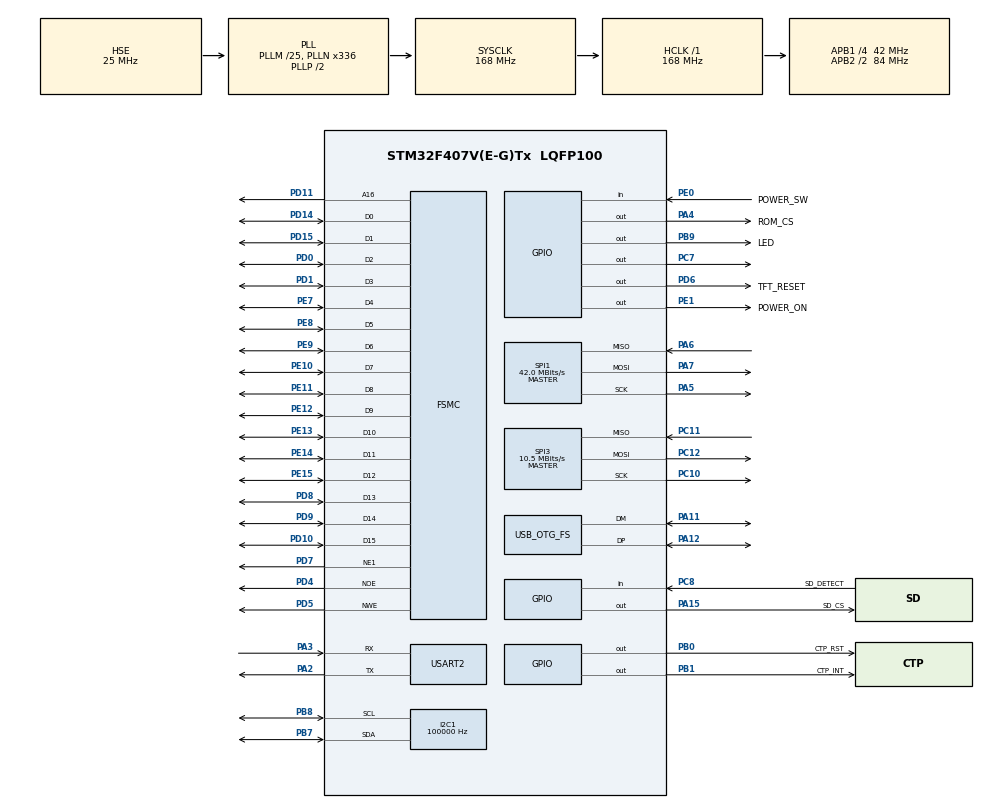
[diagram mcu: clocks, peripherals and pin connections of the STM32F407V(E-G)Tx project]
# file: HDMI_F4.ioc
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Dma.MEMTOMEM.0.Direction=DMA_MEMORY_TO_MEMORY
Dma.MEMTOMEM.0.FIFOMode=DMA_FIFOMODE_ENABLE
Dma.MEMTOMEM.0.FIFOThreshold=DMA_FIFO_THRESHOLD_FULL
Dma.MEMTOMEM.0.Instance=DMA2_Stream0
Dma.MEMTOMEM.0.MemBurst=DMA_MBURST_SINGLE
Dma.MEMTOMEM.0.MemDataAlignment=DMA_MDATAALIGN_HALFWORD
Dma.MEMTOMEM.0.MemInc=DMA_MINC_ENABLE
Dma.MEMTOMEM.0.Mode=DMA_NORMAL
Dma.MEMTOMEM.0.PeriphBurst=DMA_PBURST_SINGLE
Dma.MEMTOMEM.0.PeriphDataAlignment=DMA_PDATAALIGN_HALFWORD
Dma.MEMTOMEM.0.PeriphInc=DMA_PINC_ENABLE
Dma.MEMTOMEM.0.Priority=DMA_PRIORITY_LOW
Dma.Request0=MEMTOMEM
FATFS._USE_LFN=1
FSMC.AddressSetupTime1=2
FSMC.BusTurnAroundDuration1=0
FSMC.DataSetupTime1=8
I2C1.ClockSpeed=100000
I2C1.I2C_Mode=I2C_Standard
Mcu.Family=STM32F4
Mcu.Name=STM32F407V(E-G)Tx
Mcu.Package=LQFP100
NVIC.DMA2_Stream0_IRQn=true\:0\:0\:false\:false\:true\:true\:true\:true
NVIC.OTG_FS_IRQn=true\:0\:0\:false\:false\:true\:false\:true\:true
NVIC.PriorityGroup=NVIC_PRIORITYGROUP_4
NVIC.USART2_IRQn=true\:0\:0\:false\:false\:true\:true\:true\:true
PA11.Mode=Device_Only
PA11.Signal=USB_OTG_FS_DM
PA12.Mode=Device_Only
PA12.Signal=USB_OTG_FS_DP
PA13.Mode=Serial_Wire
PA13.Signal=SYS_JTMS-SWDIO
PA14.Mode=Serial_Wire
PA14.Signal=SYS_JTCK-SWCLK
PA15.GPIO_Label=SD_CS
PA15.GPIO_Speed=GPIO_SPEED_FREQ_VERY_HIGH
PA15.PinState=GPIO_PIN_SET
PA15.Signal=GPIO_Output
PA2.GPIO_PuPd=GPIO_PULLUP
PA2.Mode=Asynchronous
PA2.Signal=USART2_TX
PA3.GPIO_PuPd=GPIO_PULLUP
PA3.Mode=Asynchronous
PA3.Signal=USART2_RX
PA4.GPIO_Label=ROM_CS
PA4.GPIO_Speed=GPIO_SPEED_FREQ_VERY_HIGH
PA4.PinState=GPIO_PIN_SET
PA4.Signal=GPIO_Output
PA5.Mode=Full_Duplex_Master
PA5.Signal=SPI1_SCK
PA6.Mode=Full_Duplex_Master
PA6.Signal=SPI1_MISO
PA7.Mode=Full_Duplex_Master
PA7.Signal=SPI1_MOSI
PB0.GPIO_Label=CTP_RST
PB0.GPIO_Speed=GPIO_SPEED_FREQ_HIGH
PB0.Signal=GPIO_Output
PB1.GPIO_Label=CTP_INT
PB1.GPIO_Speed=GPIO_SPEED_FREQ_HIGH
PB1.Signal=GPIO_Output
PB7.GPIO_Pu=GPIO_PULLUP
PB7.Mode=I2C
PB7.Signal=I2C1_SDA
PB8.GPIO_Pu=GPIO_PULLUP
PB8.Mode=I2C
PB8.Signal=I2C1_SCL
PB9.GPIO_Label=LED
PB9.Signal=GPIO_Output
PC10.GPIO_PuPd=GPIO_NOPULL
PC10.GPIO_Speed=GPIO_SPEED_FREQ_VERY_HIGH
PC10.Mode=Full_Duplex_Master
PC10.Signal=SPI3_SCK
PC11.GPIO_PuPd=GPIO_NOPULL
PC11.Mode=Full_Duplex_Master
PC11.Signal=SPI3_MISO
PC12.GPIO_PuPd=GPIO_NOPULL
PC12.Mode=Full_Duplex_Master
PC12.Signal=SPI3_MOSI
PC7.GPIO_Speed=GPIO_SPEED_FREQ_HIGH
PC7.Signal=GPIO_Output
PC8.GPIO_Label=SD_DETECT 
PC8.GPIO_PuPd=GPIO_PULLUP
PC8.Signal=GPIO_Input
PD0.Mode=16b-d1
PD0.Signal=FSMC_D2
PD1.Mode=16b-d1
PD1.Signal=FSMC_D3
PD10.Mode=16b-d1
PD10.Signal=FSMC_D15
PD11.Mode=A16_1
PD11.Signal=FSMC_A16
PD14.Mode=16b-d1
PD14.Signal=FSMC_D0
PD15.Mode=16b-d1
PD15.Signal=FSMC_D1
PD4.Mode=Lcd1
PD4.Signal=FSMC_NOE
PD5.Mode=Lcd1
PD5.Signal=FSMC_NWE
PD6.GPIO_Label=TFT_RESET
PD6.GPIO_Speed=GPIO_SPEED_FREQ_VERY_HIGH
PD6.PinState=GPIO_PIN_SET
PD6.Signal=GPIO_Output
PD7.Mode=NorPsramChipSelect1_1
PD7.Signal=FSMC_NE1
PD8.Mode=16b-d1
PD8.Signal=FSMC_D13
PD9.Mode=16b-d1
PD9.Signal=FSMC_D14
PE0.GPIO_Label=POWER_SW
PE0.GPIO_PuPd=GPIO_PULLUP
PE0.Signal=GPIO_Input
PE1.GPIO_Label=POWER_ON
PE1.PinState=GPIO_PIN_SET
PE1.Signal=GPIO_Output
PE10.Mode=16b-d1
PE10.Signal=FSMC_D7
PE11.Mode=16b-d1
PE11.Signal=FSMC_D8
PE12.Mode=16b-d1
PE12.Signal=FSMC_D9
PE13.Mode=16b-d1
PE13.Signal=FSMC_D10
PE14.Mode=16b-d1
PE14.Signal=FSMC_D11
PE15.Mode=16b-d1
PE15.Signal=FSMC_D12
PE7.Mode=16b-d1
PE7.Signal=FSMC_D4
PE8.Mode=16b-d1
PE8.Signal=FSMC_D5
PE9.Mode=16b-d1
PE9.Signal=FSMC_D6
PH0-OSC_IN.Mode=HSE-External-Oscillator
PH0-OSC_IN.Signal=RCC_OSC_IN
PH1-OSC_OUT.Mode=HSE-External-Oscillator
PH1-OSC_OUT.Signal=RCC_OSC_OUT
ProjectManager.HeapSize=0x200
ProjectManager.StackSize=0x400
ProjectManager.TargetToolchain=STM32CubeIDE
RCC.48MHZClocksFreq_Value=48000000
RCC.AHBFreq_Value=168000000
RCC.APB1CLKDivider=RCC_HCLK_DIV4
RCC.APB1Freq_Value=42000000
RCC.APB1TimFreq_Value=84000000
RCC.APB2CLKDivider=RCC_HCLK_DIV2
RCC.APB2Freq_Value=84000000
RCC.APB2TimFreq_Value=168000000
RCC.CortexFreq_Value=168000000
RCC.EnbaleCSS=true
RCC.HCLKFreq_Value=168000000
RCC.HSE_VALUE=25000000
RCC.HSI_VALUE=16000000
RCC.LSE_VALUE=32768
RCC.PLLM=25
RCC.PLLN=336
RCC.PLLQ=7
RCC.SYSCLKFreq_VALUE=168000000
RCC.SYSCLKSource=RCC_SYSCLKSOURCE_PLLCLK
RCC.VCOOutputFreq_Value=336000000
SPI1.CalculateBaudRate=42.0 MBits/s
SPI1.Direction=SPI_DIRECTION_2LINES
SPI1.Mode=SPI_MODE_MASTER
SPI1.VirtualType=VM_MASTER
SPI3.BaudRatePrescaler=SPI_BAUDRATEPRESCALER_4
SPI3.CLKPolarity=SPI_POLARITY_LOW
SPI3.CalculateBaudRate=10.5 MBits/s
SPI3.Direction=SPI_DIRECTION_2LINES
SPI3.Mode=SPI_MODE_MASTER
SPI3.VirtualType=VM_MASTER
USART2.VirtualMode=VM_ASYNC
USB_DEVICE.CLASS_NAME_FS=CDC
USB_DEVICE.VirtualMode-CDC_FS=Cdc
USB_DEVICE.VirtualModeFS=Cdc_FS
USB_OTG_FS.VirtualMode=Device_Only
USB_OTG_FS.low_power_enable=DISABLE
VP_FATFS_VS_Generic.Mode=User_defined
VP_USB_DEVICE_VS_USB_DEVICE_CDC_FS.Mode=CDC_FS
board=custom

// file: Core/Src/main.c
/* USER CODE BEGIN Header */
/**
 ******************************************************************************
 * @file           : main.c
 * @brief          : Main program body
 ******************************************************************************
 * @attention
 *
 * Copyright (c) 2024 STMicroelectronics.
 * All rights reserved.
 *
 * This software is licensed under terms that can be found in the LICENSE file
 * in the root directory of this software component.
 * If no LICENSE file comes with this software, it is provided AS-IS.
 *
 ******************************************************************************
 */
/* USER CODE END Header */
#include "main.h"
#include "fatfs.h"
#include "usb_device.h"

/* USER CODE BEGIN Includes */
#include "AppDrv.h"
#include "usbd_cdc_if.h"
/* USER CODE END Includes */

/* USER CODE BEGIN PM */
//TouchCordinate_t cordinate[5];
//TouchCordinate_t pre_cordinate[5];
//uint8_t number;
//uint8_t tmp = 0;
/* USER CODE END PM */

I2C_HandleTypeDef hi2c1;

SPI_HandleTypeDef hspi1;
SPI_HandleTypeDef hspi3;

DMA_HandleTypeDef hdma_memtomem_dma2_stream0;
SRAM_HandleTypeDef hsram1;

void SystemClock_Config(void);
static void MX_GPIO_Init(void);
static void MX_DMA_Init(void);
static void MX_FSMC_Init(void);
static void MX_I2C1_Init(void);
static void MX_SPI3_Init(void);
static void MX_USART2_UART_Init(void);
static void MX_SPI1_Init(void);

/* USER CODE BEGIN 0 */
void blink() {
	HAL_GPIO_TogglePin(LED_GPIO_Port, LED_Pin);
}
/* USER CODE END 0 */

int main(void)
{

  /* MCU Configuration--------------------------------------------------------*/

  /* Reset of all peripherals, Initializes the Flash interface and the Systick. */
  HAL_Init();

  /* Configure the system clock */
  SystemClock_Config();

  /* Initialize all configured peripherals */
  MX_GPIO_Init();
  MX_DMA_Init();
  MX_FSMC_Init();
  MX_I2C1_Init();
  MX_USB_DEVICE_Init();
  MX_SPI3_Init();
  MX_USART2_UART_Init();
  MX_SPI1_Init();
  MX_FATFS_Init();
  /* USER CODE BEGIN 2 */
	SystemStatus = RUNs;
	usart2_init();
	FSP_Line_Task_Init();
	lv_init();
	lv_port_disp_init();
	lv_port_indev_init();

	ui_init();
	lv_timer_create(blink, 500, NULL);
	lv_timer_create(FSP_Line_Task, 20, NULL);
	lv_timer_create(Communicate_Task, 100, NULL);
	lv_timer_create(Update_Status_Task, 100, NULL);
	File_Count = get_next_file_index("0:/");

  /* USER CODE END 2 */

  /* Infinite loop */
	while (1) {

    /* USER CODE BEGIN 3 */

		lv_timer_handler();
	}
  /* USER CODE END 3 */
}

void SystemClock_Config(void)
{
  RCC_OscInitTypeDef RCC_OscInitStruct = {0};
  RCC_ClkInitTypeDef RCC_ClkInitStruct = {0};

  /** Configure the main internal regulator output voltage
  */
  __HAL_RCC_PWR_CLK_ENABLE();
  __HAL_PWR_VOLTAGESCALING_CONFIG(PWR_REGULATOR_VOLTAGE_SCALE1);

  /** Initializes the RCC Oscillators according to the specified parameters
  * in the RCC_OscInitTypeDef structure.
  */
  RCC_OscInitStruct.OscillatorType = RCC_OSCILLATORTYPE_HSE;
  RCC_OscInitStruct.HSEState = RCC_HSE_ON;
  RCC_OscInitStruct.PLL.PLLState = RCC_PLL_ON;
  RCC_OscInitStruct.PLL.PLLSource = RCC_PLLSOURCE_HSE;
  RCC_OscInitStruct.PLL.PLLM = 25;
  RCC_OscInitStruct.PLL.PLLN = 336;
  RCC_OscInitStruct.PLL.PLLP = RCC_PLLP_DIV2;
  RCC_OscInitStruct.PLL.PLLQ = 7;
  if (HAL_RCC_OscConfig(&RCC_OscInitStruct) != HAL_OK)
  {
    Error_Handler();
  }

  /** Initializes the CPU, AHB and APB buses clocks
  */
  RCC_ClkInitStruct.ClockType = RCC_CLOCKTYPE_HCLK|RCC_CLOCKTYPE_SYSCLK
                              |RCC_CLOCKTYPE_PCLK1|RCC_CLOCKTYPE_PCLK2;
  RCC_ClkInitStruct.SYSCLKSource = RCC_SYSCLKSOURCE_PLLCLK;
  RCC_ClkInitStruct.AHBCLKDivider = RCC_SYSCLK_DIV1;
  RCC_ClkInitStruct.APB1CLKDivider = RCC_HCLK_DIV4;
  RCC_ClkInitStruct.APB2CLKDivider = RCC_HCLK_DIV2;

  if (HAL_RCC_ClockConfig(&RCC_ClkInitStruct, FLASH_LATENCY_5) != HAL_OK)
  {
    Error_Handler();
  }

  /** Enables the Clock Security System
  */
  HAL_RCC_EnableCSS();
}

static void MX_I2C1_Init(void)
{

  hi2c1.Instance = I2C1;
  hi2c1.Init.ClockSpeed = 100000;
  hi2c1.Init.DutyCycle = I2C_DUTYCYCLE_2;
  hi2c1.Init.OwnAddress1 = 0;
  hi2c1.Init.AddressingMode = I2C_ADDRESSINGMODE_7BIT;
  hi2c1.Init.DualAddressMode = I2C_DUALADDRESS_DISABLE;
  hi2c1.Init.OwnAddress2 = 0;
  hi2c1.Init.GeneralCallMode = I2C_GENERALCALL_DISABLE;
  hi2c1.Init.NoStretchMode = I2C_NOSTRETCH_DISABLE;
  if (HAL_I2C_Init(&hi2c1) != HAL_OK)
  {
    Error_Handler();
  }

}

static void MX_SPI1_Init(void)
{

  /* SPI1 parameter configuration*/
  hspi1.Instance = SPI1;
  hspi1.Init.Mode = SPI_MODE_MASTER;
  hspi1.Init.Direction = SPI_DIRECTION_2LINES;
  hspi1.Init.DataSize = SPI_DATASIZE_8BIT;
  hspi1.Init.CLKPolarity = SPI_POLARITY_LOW;
  hspi1.Init.CLKPhase = SPI_PHASE_1EDGE;
  hspi1.Init.NSS = SPI_NSS_SOFT;
  hspi1.Init.BaudRatePrescaler = SPI_BAUDRATEPRESCALER_2;
  hspi1.Init.FirstBit = SPI_FIRSTBIT_MSB;
  hspi1.Init.TIMode = SPI_TIMODE_DISABLE;
  hspi1.Init.CRCCalculation = SPI_CRCCALCULATION_DISABLE;
  hspi1.Init.CRCPolynomial = 10;
  if (HAL_SPI_Init(&hspi1) != HAL_OK)
  {
    Error_Handler();
  }

}

static void MX_SPI3_Init(void)
{

  /* SPI3 parameter configuration*/
  hspi3.Instance = SPI3;
  hspi3.Init.Mode = SPI_MODE_MASTER;
  hspi3.Init.Direction = SPI_DIRECTION_2LINES;
  hspi3.Init.DataSize = SPI_DATASIZE_8BIT;
  hspi3.Init.CLKPolarity = SPI_POLARITY_LOW;
  hspi3.Init.CLKPhase = SPI_PHASE_1EDGE;
  hspi3.Init.NSS = SPI_NSS_SOFT;
  hspi3.Init.BaudRatePrescaler = SPI_BAUDRATEPRESCALER_4;
  hspi3.Init.FirstBit = SPI_FIRSTBIT_MSB;
  hspi3.Init.TIMode = SPI_TIMODE_DISABLE;
  hspi3.Init.CRCCalculation = SPI_CRCCALCULATION_DISABLE;
  hspi3.Init.CRCPolynomial = 10;
  if (HAL_SPI_Init(&hspi3) != HAL_OK)
  {
    Error_Handler();
  }

}

static void MX_USART2_UART_Init(void)
{

  LL_USART_InitTypeDef USART_InitStruct = {0};

  LL_GPIO_InitTypeDef GPIO_InitStruct = {0};

  /* Peripheral clock enable */
  LL_APB1_GRP1_EnableClock(LL_APB1_GRP1_PERIPH_USART2);

  LL_AHB1_GRP1_EnableClock(LL_AHB1_GRP1_PERIPH_GPIOA);
  /**USART2 GPIO Configuration
  PA2   ------> USART2_TX
  PA3   ------> USART2_RX
  */
  GPIO_InitStruct.Pin = LL_GPIO_PIN_2|LL_GPIO_PIN_3;
  GPIO_InitStruct.Mode = LL_GPIO_MODE_ALTERNATE;
  GPIO_InitStruct.Speed = LL_GPIO_SPEED_FREQ_VERY_HIGH;
  GPIO_InitStruct.OutputType = LL_GPIO_OUTPUT_PUSHPULL;
  GPIO_InitStruct.Pull = LL_GPIO_PULL_UP;
  GPIO_InitStruct.Alternate = LL_GPIO_AF_7;
  LL_GPIO_Init(GPIOA, &GPIO_InitStruct);

  /* USART2 interrupt Init */
  NVIC_SetPriority(USART2_IRQn, NVIC_EncodePriority(NVIC_GetPriorityGrouping(),0, 0));
  NVIC_EnableIRQ(USART2_IRQn);

  USART_InitStruct.BaudRate = 115200;
  USART_InitStruct.DataWidth = LL_USART_DATAWIDTH_8B;
  USART_InitStruct.StopBits = LL_USART_STOPBITS_1;
  USART_InitStruct.Parity = LL_USART_PARITY_NONE;
  USART_InitStruct.TransferDirection = LL_USART_DIRECTION_TX_RX;
  USART_InitStruct.HardwareFlowControl = LL_USART_HWCONTROL_NONE;
  USART_InitStruct.OverSampling = LL_USART_OVERSAMPLING_16;
  LL_USART_Init(USART2, &USART_InitStruct);
  LL_USART_ConfigAsyncMode(USART2);
  LL_USART_Enable(USART2);

}

static void MX_DMA_Init(void)
{

  /* DMA controller clock enable */
  __HAL_RCC_DMA2_CLK_ENABLE();

  /* Configure DMA request hdma_memtomem_dma2_stream0 on DMA2_Stream0 */
  hdma_memtomem_dma2_stream0.Instance = DMA2_Stream0;
  hdma_memtomem_dma2_stream0.Init.Channel = DMA_CHANNEL_0;
  hdma_memtomem_dma2_stream0.Init.Direction = DMA_MEMORY_TO_MEMORY;
  hdma_memtomem_dma2_stream0.Init.PeriphInc = DMA_PINC_ENABLE;
  hdma_memtomem_dma2_stream0.Init.MemInc = DMA_MINC_ENABLE;
  hdma_memtomem_dma2_stream0.Init.PeriphDataAlignment = DMA_PDATAALIGN_HALFWORD;
  hdma_memtomem_dma2_stream0.Init.MemDataAlignment = DMA_MDATAALIGN_HALFWORD;
  hdma_memtomem_dma2_stream0.Init.Mode = DMA_NORMAL;
  hdma_memtomem_dma2_stream0.Init.Priority = DMA_PRIORITY_LOW;
  hdma_memtomem_dma2_stream0.Init.FIFOMode = DMA_FIFOMODE_ENABLE;
  hdma_memtomem_dma2_stream0.Init.FIFOThreshold = DMA_FIFO_THRESHOLD_FULL;
  hdma_memtomem_dma2_stream0.Init.MemBurst = DMA_MBURST_SINGLE;
  hdma_memtomem_dma2_stream0.Init.PeriphBurst = DMA_PBURST_SINGLE;
  if (HAL_DMA_Init(&hdma_memtomem_dma2_stream0) != HAL_OK)
  {
    Error_Handler( );
  }

  /* DMA interrupt init */
  /* DMA2_Stream0_IRQn interrupt configuration */
  HAL_NVIC_SetPriority(DMA2_Stream0_IRQn, 0, 0);
  HAL_NVIC_EnableIRQ(DMA2_Stream0_IRQn);

}

static void MX_GPIO_Init(void)
{
  GPIO_InitTypeDef GPIO_InitStruct = {0};

  /* GPIO Ports Clock Enable */
  __HAL_RCC_GPIOH_CLK_ENABLE();
  __HAL_RCC_GPIOA_CLK_ENABLE();
  __HAL_RCC_GPIOB_CLK_ENABLE();
  __HAL_RCC_GPIOE_CLK_ENABLE();
  __HAL_RCC_GPIOD_CLK_ENABLE();
  __HAL_RCC_GPIOC_CLK_ENABLE();

  /*Configure GPIO pin Output Level */
  HAL_GPIO_WritePin(GPIOA, ROM_CS_Pin|SD_CS_Pin, GPIO_PIN_SET);

  /*Configure GPIO pin Output Level */
  HAL_GPIO_WritePin(GPIOB, CTP_RST_Pin|CTP_INT_Pin|LED_Pin, GPIO_PIN_RESET);

  /*Configure GPIO pin Output Level */
  HAL_GPIO_WritePin(GPIOC, GPIO_PIN_7, GPIO_PIN_RESET);

  /*Configure GPIO pin Output Level */
  HAL_GPIO_WritePin(TFT_RESET_GPIO_Port, TFT_RESET_Pin, GPIO_PIN_SET);

  /*Configure GPIO pin Output Level */
  HAL_GPIO_WritePin(POWER_ON_GPIO_Port, POWER_ON_Pin, GPIO_PIN_SET);

  /*Configure GPIO pins : ROM_CS_Pin SD_CS_Pin */
  GPIO_InitStruct.Pin = ROM_CS_Pin|SD_CS_Pin;
  GPIO_InitStruct.Mode = GPIO_MODE_OUTPUT_PP;
  GPIO_InitStruct.Pull = GPIO_NOPULL;
  GPIO_InitStruct.Speed = GPIO_SPEED_FREQ_VERY_HIGH;
  HAL_GPIO_Init(GPIOA, &GPIO_InitStruct);

  /*Configure GPIO pins : CTP_RST_Pin CTP_INT_Pin */
  GPIO_InitStruct.Pin = CTP_RST_Pin|CTP_INT_Pin;
  GPIO_InitStruct.Mode = GPIO_MODE_OUTPUT_PP;
  GPIO_InitStruct.Pull = GPIO_NOPULL;
  GPIO_InitStruct.Speed = GPIO_SPEED_FREQ_HIGH;
  HAL_GPIO_Init(GPIOB, &GPIO_InitStruct);

  /*Configure GPIO pin : PC7 */
  GPIO_InitStruct.Pin = GPIO_PIN_7;
  GPIO_InitStruct.Mode = GPIO_MODE_OUTPUT_PP;
  GPIO_InitStruct.Pull = GPIO_NOPULL;
  GPIO_InitStruct.Speed = GPIO_SPEED_FREQ_HIGH;
  HAL_GPIO_Init(GPIOC, &GPIO_InitStruct);

  /*Configure GPIO pin : SD_DETECT_Pin */
  GPIO_InitStruct.Pin = SD_DETECT_Pin;
  GPIO_InitStruct.Mode = GPIO_MODE_INPUT;
  GPIO_InitStruct.Pull = GPIO_PULLUP;
  HAL_GPIO_Init(SD_DETECT_GPIO_Port, &GPIO_InitStruct);

  /*Configure GPIO pin : TFT_RESET_Pin */
  GPIO_InitStruct.Pin = TFT_RESET_Pin;
  GPIO_InitStruct.Mode = GPIO_MODE_OUTPUT_PP;
  GPIO_InitStruct.Pull = GPIO_NOPULL;
  GPIO_InitStruct.Speed = GPIO_SPEED_FREQ_VERY_HIGH;
  HAL_GPIO_Init(TFT_RESET_GPIO_Port, &GPIO_InitStruct);

  /*Configure GPIO pin : LED_Pin */
  GPIO_InitStruct.Pin = LED_Pin;
  GPIO_InitStruct.Mode = GPIO_MODE_OUTPUT_PP;
  GPIO_InitStruct.Pull = GPIO_NOPULL;
  GPIO_InitStruct.Speed = GPIO_SPEED_FREQ_LOW;
  HAL_GPIO_Init(LED_GPIO_Port, &GPIO_InitStruct);

  /*Configure GPIO pin : POWER_SW_Pin */
  GPIO_InitStruct.Pin = POWER_SW_Pin;
  GPIO_InitStruct.Mode = GPIO_MODE_INPUT;
  GPIO_InitStruct.Pull = GPIO_PULLUP;
  HAL_GPIO_Init(POWER_SW_GPIO_Port, &GPIO_InitStruct);

  /*Configure GPIO pin : POWER_ON_Pin */
  GPIO_InitStruct.Pin = POWER_ON_Pin;
  GPIO_InitStruct.Mode = GPIO_MODE_OUTPUT_PP;
  GPIO_InitStruct.Pull = GPIO_NOPULL;
  GPIO_InitStruct.Speed = GPIO_SPEED_FREQ_LOW;
  HAL_GPIO_Init(POWER_ON_GPIO_Port, &GPIO_InitStruct);

}

/* FSMC initialization function */
static void MX_FSMC_Init(void)
{

  FSMC_NORSRAM_TimingTypeDef Timing = {0};

  /** Perform the SRAM1 memory initialization sequence
  */
  hsram1.Instance = FSMC_NORSRAM_DEVICE;
  hsram1.Extended = FSMC_NORSRAM_EXTENDED_DEVICE;
  /* hsram1.Init */
  hsram1.Init.NSBank = FSMC_NORSRAM_BANK1;
  hsram1.Init.DataAddressMux = FSMC_DATA_ADDRESS_MUX_DISABLE;
  hsram1.Init.MemoryType = FSMC_MEMORY_TYPE_SRAM;
  hsram1.Init.MemoryDataWidth = FSMC_NORSRAM_MEM_BUS_WIDTH_16;
  hsram1.Init.BurstAccessMode = FSMC_BURST_ACCESS_MODE_DISABLE;
  hsram1.Init.WaitSignalPolarity = FSMC_WAIT_SIGNAL_POLARITY_LOW;
  hsram1.Init.WrapMode = FSMC_WRAP_MODE_DISABLE;
  hsram1.Init.WaitSignalActive = FSMC_WAIT_TIMING_BEFORE_WS;
  hsram1.Init.WriteOperation = FSMC_WRITE_OPERATION_ENABLE;
  hsram1.Init.WaitSignal = FSMC_WAIT_SIGNAL_DISABLE;
  hsram1.Init.ExtendedMode = FSMC_EXTENDED_MODE_DISABLE;
  hsram1.Init.AsynchronousWait = FSMC_ASYNCHRONOUS_WAIT_DISABLE;
  hsram1.Init.WriteBurst = FSMC_WRITE_BURST_DISABLE;
  hsram1.Init.PageSize = FSMC_PAGE_SIZE_NONE;
  /* Timing */
  Timing.AddressSetupTime = 2;
  Timing.AddressHoldTime = 15;
  Timing.DataSetupTime = 8;
  Timing.BusTurnAroundDuration = 0;
  Timing.CLKDivision = 16;
  Timing.DataLatency = 17;
  Timing.AccessMode = FSMC_ACCESS_MODE_A;
  /* ExtTiming */

  if (HAL_SRAM_Init(&hsram1, &Timing, NULL) != HAL_OK)
  {
    Error_Handler( );
  }

}

void Error_Handler(void)
{
	__disable_irq();
	while (1) {
	}
}
